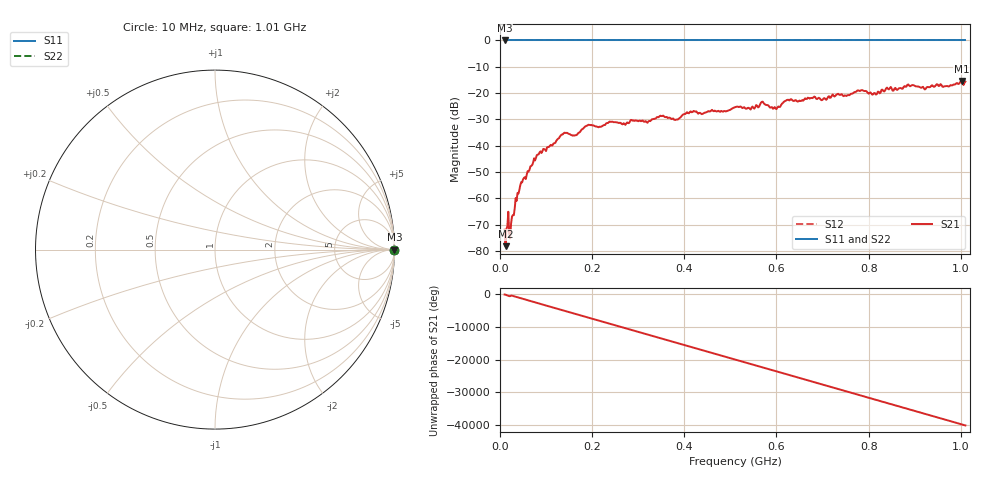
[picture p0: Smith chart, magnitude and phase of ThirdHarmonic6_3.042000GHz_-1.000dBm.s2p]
! 8/17/2025 8:48:50 AM
! C:\ANRITSUVNA\TEMP\TEMP.S2P
! CHANNEL.1
! TR.MEASUREMENT
! RAW.DATA
! RF.CORRECTION.OFF
! AVERAGING.OFF
! IF.BANDWIDTH: 5KHZ
! SWEEPTYPE:  FREQ.SWEEP(Linear)
! Reference Plane Port Info
! PORT:  PORT1  PORT2
! DISTANCE:  0  m  0  m
! TIME:  0  s  0  s
! PHASE.OFFSET:  0  deg.  0  deg.
! LOSS:  0  dB  0  dB
! REF.LOSS:  0  dB  0  dB
! REF.FREQ:  0  Hz  0  Hz
! Power Info
! POWER:  -20  dBm  -20  dBm
! EFF.POWER:  -20  dBm  -20  dBm
! SOURCE.ATTEN:  0  dB  0  dB
! TEST.ATTEN:  0  dB  0  dB
# GHZ S RI R 50.0
! FREQ.GHZ  S11RE  S11IM  S21RE  S21IM  S12RE  S12IM  S22RE  S22IM
!; PortSelection: Port_12
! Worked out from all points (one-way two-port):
!   501 points, 10 MHz to 1.01 GHz, reference 50 ohm
!   highest |S21| = -15.44 dB at 1.002 GHz (marker M1); lowest = -78.1 dB at 12 MHz (marker M2)
!   lowest |S11| = 0.0 dB at 10 MHz (marker M3)
!   |S11| at or under -10 dB: nowhere
!   |S22| runs from 0.0 to 0.0 dB; largest |S21 - S12| = 1.2
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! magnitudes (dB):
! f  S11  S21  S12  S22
! 10 MHz  0.0  -71.9  0.0  0.0
! 12 MHz  0.0  -78.1  0.0  0.0
! 24 MHz  0.0  -69.6  0.0  0.0
! 36 MHz  0.0  -61.0  0.0  0.0
! 48 MHz  0.0  -53.9  0.0  0.0
! 84 MHz  0.0  -43.2  0.0  0.0
! 136 MHz  0.0  -35.7  0.0  0.0
! 162 MHz  0.0  -36.1  0.0  0.0
! 178 MHz  0.0  -33.7  0.0  0.0
! 344 MHz  0.0  -29.2  0.0  0.0
! 382 MHz  0.0  -30.1  0.0  0.0
! 416 MHz  0.0  -27.3  0.0  0.0
! 510 MHz  0.0  -25.4  0.0  0.0
! 570 MHz  0.0  -23.2  0.0  0.0
! 596 MHz  0.0  -25.3  0.0  0.0
! 622 MHz  0.0  -22.7  0.0  0.0
! 678 MHz  0.0  -21.9  0.0  0.0
! 780 MHz  0.0  -19.2  0.0  0.0
! 812 MHz  0.0  -19.9  0.0  0.0
! 844 MHz  0.0  -18.6  0.0  0.0
! 1.002 GHz  0.0  -15.4  0.0  0.0
! 1.01 GHz  0.0  -15.6  0.0  0.0
